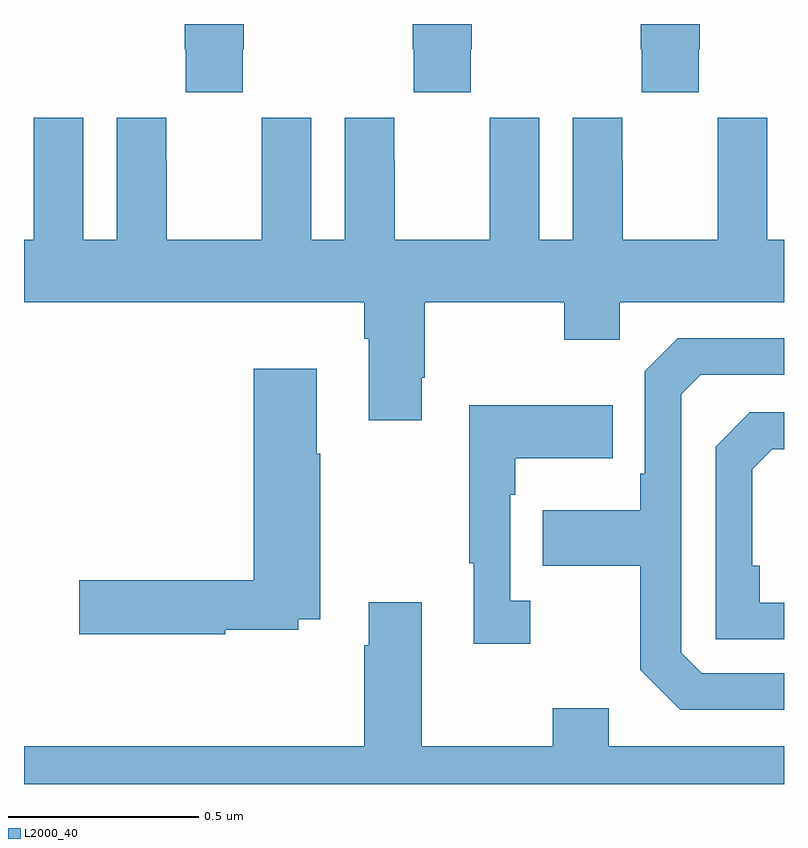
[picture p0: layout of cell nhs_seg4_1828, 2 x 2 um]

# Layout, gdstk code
import gdstk
lib = gdstk.Library(unit=1e-6, precision=1e-09)
def P(c, l, *ps):  # polygons
    for p in ps: c.add(gdstk.Polygon(p, *l))
L2000_40 = (2000, 40)

nhs_seg4_1828 = lib.new_cell('nhs_seg4_1828')
P(nhs_seg4_1828, L2000_40, [(134.775,782.833),(134.778,782.833),(134.778,782.9),(134.623,782.9),(134.623,782.833),(134.625,782.833),(134.625,782.721),(134.775,782.721)],
  [(134.175,782.833),(134.178,782.833),(134.178,782.9),(134.023,782.9),(134.023,782.833),(134.025,782.833),(134.025,782.721),(134.175,782.721)],
  [(133.575,782.833),(133.578,782.833),(133.578,782.9),(133.423,782.9),(133.423,782.833),(133.425,782.833),(133.425,782.721),(133.575,782.721)],
  [(133.374,782.54),(133.374,782.653),(133.244,782.653),(133.244,782.332),(133.156,782.332),(133.156,782.653),(133.026,782.653),(133.026,782.54),(133.025,782.54),(133.025,782.332),(133,782.332),(133,782.168),(133.895,782.168),(133.895,782.072),(133.907,782.072),(133.907,781.857),(134.047,781.857),(134.047,781.969),(134.055,781.969),(134.055,782.168),(134.422,782.168),(134.422,782.069),(134.568,782.069),(134.568,782.168),(135,782.168),(135,782.332),(134.956,782.332),(134.956,782.653),(134.826,782.653),(134.826,782.54),(134.825,782.54),(134.825,782.332),(134.575,782.332),(134.575,782.54),(134.574,782.54),(134.574,782.653),(134.444,782.653),(134.444,782.332),(134.356,782.332),(134.356,782.653),(134.226,782.653),(134.226,782.54),(134.225,782.54),(134.225,782.332),(133.975,782.332),(133.975,782.54),(133.974,782.54),(133.974,782.653),(133.844,782.653),(133.844,782.332),(133.756,782.332),(133.756,782.653),(133.626,782.653),(133.626,782.54),(133.625,782.54),(133.625,782.332),(133.375,782.332),(133.375,782.54)],
  [(135,781.191),(134.784,781.191),(134.73,781.245),(134.73,781.926),(134.781,781.977),(135,781.977),(135,782.073),(134.721,782.073),(134.634,781.986),(134.634,781.717),(134.622,781.717),(134.622,781.621),(134.365,781.621),(134.365,781.474),(134.622,781.474),(134.622,781.201),(134.727,781.095),(135,781.095)],
  [(133.53,781.306),(133.722,781.306),(133.722,781.334),(133.779,781.334),(133.779,781.769),(133.771,781.769),(133.771,781.993),(133.604,781.993),(133.604,781.436),(133.146,781.436),(133.146,781.294),(133.53,781.294)],
  [(134.332,781.382),(134.28,781.382),(134.28,781.661),(134.293,781.661),(134.293,781.757),(134.549,781.757),(134.549,781.897),(134.172,781.897),(134.172,781.481),(134.183,781.481),(134.183,781.269),(134.332,781.269)],
  [(135,781.377),(134.936,781.377),(134.936,781.474),(134.916,781.474),(134.916,781.728),(134.969,781.781),(135,781.781),(135,781.878),(134.91,781.878),(134.82,781.788),(134.82,781.281),(135,781.281)],
  [(135,781),(134.539,781),(134.539,781.099),(134.392,781.099),(134.392,781),(134.047,781),(134.047,781.378),(133.907,781.378),(133.907,781.265),(133.895,781.265),(133.895,781),(133,781),(133,780.9),(135,780.9)])

lib.write_gds('nhs_seg4_1828.gds')
